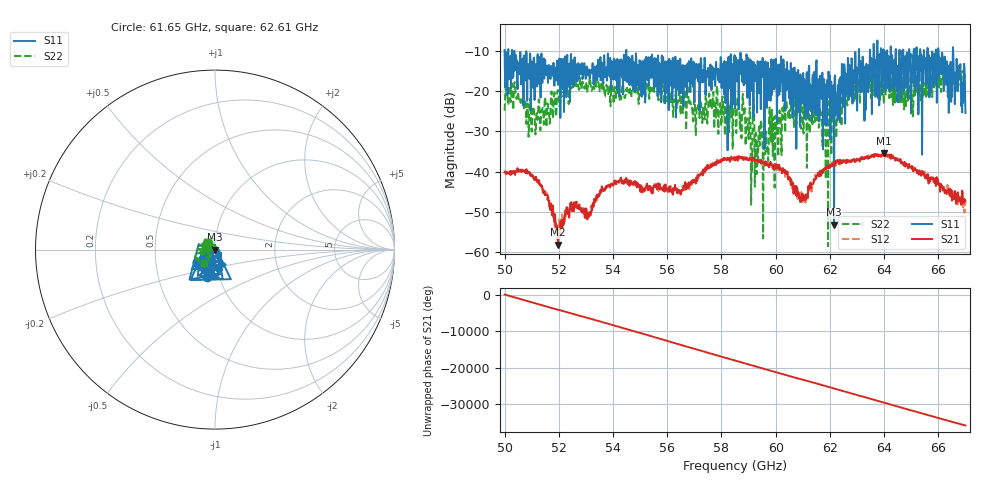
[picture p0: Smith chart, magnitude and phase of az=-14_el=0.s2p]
!Created with skrf (http://scikit-rf.org).
# GHz S RI R 50.0
!freq ReS11 ImS11 ReS21 ImS21 ReS12 ImS12 ReS22 ImS22
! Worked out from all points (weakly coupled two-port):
!   1001 points, 50 GHz to 67 GHz, reference 50 ohm
!   highest |S21| = -35.36 dB at 63.99 GHz (marker M1); lowest = -58.2 dB at 51.97 GHz (marker M2)
!   lowest |S11| = -53.2 dB at 62.16 GHz (marker M3), VSWR 1.00, Z = 49.8 + j0.0176 ohm
!   |S11| at or under -10 dB: 50.36 GHz to 54.49 GHz (4.13 GHz wide, 7.88 % of centre); 54.49 GHz to 63.07 GHz (8.582 GHz wide, 14.6 % of centre); 66.01 GHz to 66.54 GHz (533.2 MHz wide, 0.805 % of centre) (the widest 3 of 25)
!   |S22| runs from -58.6 to -13.8 dB; largest |S21 - S12| = 0.0024
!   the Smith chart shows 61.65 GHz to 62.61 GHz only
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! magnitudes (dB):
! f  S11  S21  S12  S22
! 50 GHz  -9.8  -40.2  -40.3  -24.8
! 50.42 GHz  -13.3  -40.0  -39.5  -21.6
! 51.22 GHz  -10.7  -42.2  -42.8  -26.8
! 51.97 GHz  -18.4  -58.2  -57.1  -19.7
! 52.84 GHz  -13.9  -49.4  -48.8  -19.5
! 54.22 GHz  -13.2  -42.7  -42.7  -20.1
! 55.68 GHz  -13.4  -43.2  -44.8  -22.3
! 58.5 GHz  -24.2  -36.3  -37.0  -23.9
! 59.61 GHz  -12.7  -38.5  -37.8  -35.7
! 59.84 GHz  -12.1  -38.3  -38.5  -25.5
! 60.03 GHz  -15.0  -39.2  -39.2  -30.6
! 60.34 GHz  -14.4  -39.5  -40.2  -25.4
! 60.95 GHz  -23.2  -46.5  -45.1  -27.0
! 61.34 GHz  -27.2  -43.2  -44.1  -25.6
! 61.88 GHz  -28.5  -38.8  -39.3  -23.0
! 62.16 GHz  -53.2  -37.9  -37.6  -28.2
! 63.01 GHz  -24.8  -37.2  -37.2  -20.0
! 63.99 GHz  -12.0  -35.4  -35.5  -23.1
! 64.18 GHz  -18.7  -35.8  -36.1  -18.5
! 66.08 GHz  -15.4  -43.3  -43.4  -15.7
! 66.75 GHz  -16.9  -47.3  -46.8  -18.5
! 67 GHz  -25.4  -47.3  -48.1  -15.8
